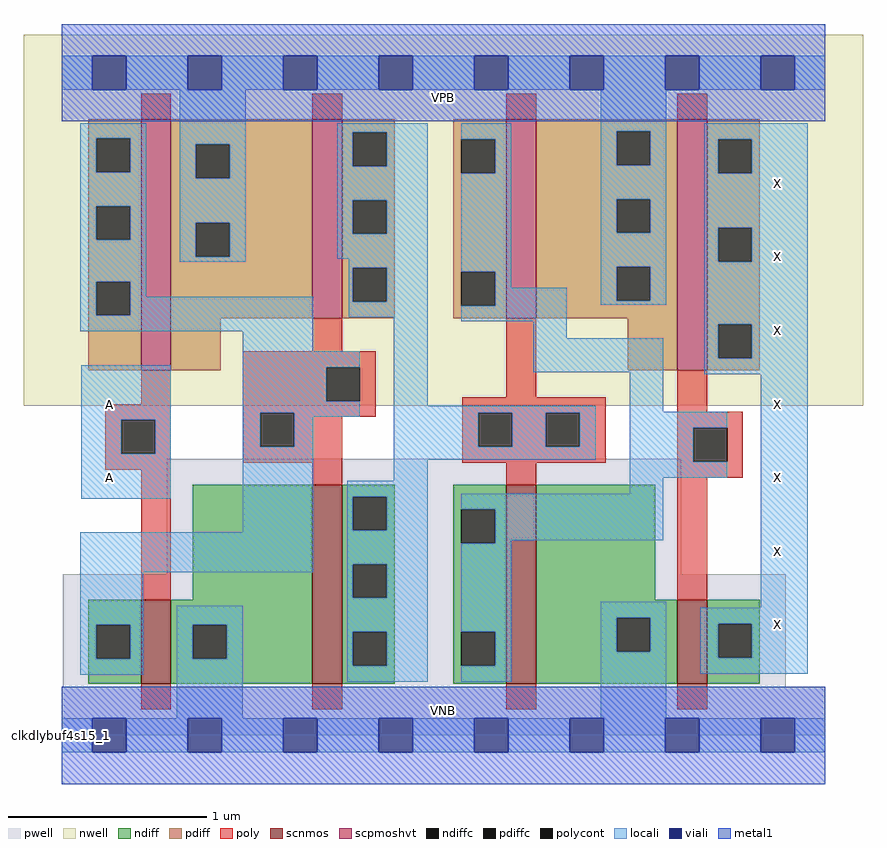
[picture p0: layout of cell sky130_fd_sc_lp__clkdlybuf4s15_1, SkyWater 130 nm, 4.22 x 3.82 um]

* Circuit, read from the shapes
.subckt sky130_fd_sc_lp__clkdlybuf4s15_1 A VGND VNB VPB VPWR X
XM1 VGND A n1 VNB sky130_fd_pr__nfet_01v8 w=0.42 l=0.15
XM2 n2 n1 VGND VNB sky130_fd_pr__nfet_01v8 w=1 l=0.15
XM3 VGND n2 n3 VNB sky130_fd_pr__nfet_01v8 w=1 l=0.15
XM4 X n3 VGND VNB sky130_fd_pr__nfet_01v8 w=0.42 l=0.15
XM5 VPWR A n1 VPB sky130_fd_pr__pfet_01v8_hvt w=1.26 l=0.15
XM6 n2 n1 VPWR VPB sky130_fd_pr__pfet_01v8_hvt w=1 l=0.15
XM7 VPWR n2 n3 VPB sky130_fd_pr__pfet_01v8_hvt w=1 l=0.15
XM8 X n3 VPWR VPB sky130_fd_pr__pfet_01v8_hvt w=1.26 l=0.15
.ends

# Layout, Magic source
magic
tech sky130A
magscale 1 2
<< nwell >>
rect -38 331 806 704
<< pwell >>
rect 106 162 623 278
rect 1 49 728 162
rect 0 0 768 49
<< scnmos >>
rect 80 52 110 136
rect 252 52 282 252
rect 447 52 477 252
rect 619 52 649 136
<< scpmoshvt >>
rect 80 367 110 619
rect 252 419 282 619
rect 447 419 477 619
rect 619 367 649 619
<< ndiff >>
rect 132 136 252 252
rect 27 111 80 136
rect 27 77 35 111
rect 69 77 80 111
rect 27 52 80 77
rect 110 111 252 136
rect 110 77 132 111
rect 166 77 252 111
rect 110 52 252 77
rect 282 240 335 252
rect 282 206 293 240
rect 327 206 335 240
rect 282 172 335 206
rect 282 138 293 172
rect 327 138 335 172
rect 282 104 335 138
rect 282 70 293 104
rect 327 70 335 104
rect 282 52 335 70
rect 394 227 447 252
rect 394 193 402 227
rect 436 193 447 227
rect 394 104 447 193
rect 394 70 402 104
rect 436 70 447 104
rect 394 52 447 70
rect 477 136 597 252
rect 477 118 619 136
rect 477 84 558 118
rect 592 84 619 118
rect 477 52 619 84
rect 649 112 702 136
rect 649 78 660 112
rect 694 78 702 112
rect 649 52 702 78
<< pdiff >>
rect 27 600 80 619
rect 27 566 35 600
rect 69 566 80 600
rect 27 532 80 566
rect 27 498 35 532
rect 69 498 80 532
rect 27 456 80 498
rect 27 422 35 456
rect 69 422 80 456
rect 27 367 80 422
rect 110 594 252 619
rect 110 560 135 594
rect 169 560 252 594
rect 110 515 252 560
rect 110 481 135 515
rect 169 481 252 515
rect 110 419 252 481
rect 282 606 335 619
rect 282 572 293 606
rect 327 572 335 606
rect 282 538 335 572
rect 282 504 293 538
rect 327 504 335 538
rect 282 470 335 504
rect 282 436 293 470
rect 327 436 335 470
rect 282 419 335 436
rect 394 599 447 619
rect 394 565 402 599
rect 436 565 447 599
rect 394 466 447 565
rect 394 432 402 466
rect 436 432 447 466
rect 394 419 447 432
rect 477 607 619 619
rect 477 573 558 607
rect 592 573 619 607
rect 477 539 619 573
rect 477 505 558 539
rect 592 505 619 539
rect 477 471 619 505
rect 477 437 558 471
rect 592 437 619 471
rect 477 419 619 437
rect 110 367 160 419
rect 569 367 619 419
rect 649 599 702 619
rect 649 565 660 599
rect 694 565 702 599
rect 649 510 702 565
rect 649 476 660 510
rect 694 476 702 510
rect 649 413 702 476
rect 649 379 660 413
rect 694 379 702 413
rect 649 367 702 379
<< ndiffc >>
rect 35 77 69 111
rect 132 77 166 111
rect 293 206 327 240
rect 293 138 327 172
rect 293 70 327 104
rect 402 193 436 227
rect 402 70 436 104
rect 558 84 592 118
rect 660 78 694 112
<< pdiffc >>
rect 35 566 69 600
rect 35 498 69 532
rect 35 422 69 456
rect 135 560 169 594
rect 135 481 169 515
rect 293 572 327 606
rect 293 504 327 538
rect 293 436 327 470
rect 402 565 436 599
rect 402 432 436 466
rect 558 573 592 607
rect 558 505 592 539
rect 558 437 592 471
rect 660 565 694 599
rect 660 476 694 510
rect 660 379 694 413
<< poly >>
rect 80 619 110 645
rect 252 619 282 645
rect 447 619 477 645
rect 619 619 649 645
rect 252 386 282 419
rect 182 370 316 386
rect 80 333 110 367
rect 44 317 110 333
rect 44 283 60 317
rect 94 283 110 317
rect 44 267 110 283
rect 182 336 266 370
rect 300 336 316 370
rect 447 340 477 419
rect 182 324 316 336
rect 182 290 200 324
rect 234 320 316 324
rect 403 324 547 340
rect 234 290 282 320
rect 182 274 282 290
rect 403 290 419 324
rect 453 290 487 324
rect 521 290 547 324
rect 403 274 547 290
rect 619 325 649 367
rect 619 309 685 325
rect 619 275 635 309
rect 669 275 685 309
rect 80 136 110 267
rect 252 252 282 274
rect 447 252 477 274
rect 619 259 685 275
rect 619 136 649 259
rect 80 26 110 52
rect 252 26 282 52
rect 447 26 477 52
rect 619 26 649 52
<< polycont >>
rect 60 283 94 317
rect 266 336 300 370
rect 200 290 234 324
rect 419 290 453 324
rect 487 290 521 324
rect 635 275 669 309
<< locali >>
rect 0 649 31 683
rect 65 649 127 683
rect 161 649 223 683
rect 257 649 319 683
rect 353 649 415 683
rect 449 649 511 683
rect 545 649 607 683
rect 641 649 703 683
rect 737 649 768 683
rect 19 600 85 615
rect 19 566 35 600
rect 69 566 85 600
rect 19 532 85 566
rect 19 498 35 532
rect 69 498 85 532
rect 19 456 85 498
rect 119 594 185 649
rect 119 560 135 594
rect 169 560 185 594
rect 119 515 185 560
rect 119 481 135 515
rect 169 481 185 515
rect 119 476 185 481
rect 277 606 368 615
rect 277 572 293 606
rect 327 572 368 606
rect 277 538 368 572
rect 277 504 293 538
rect 327 504 368 538
rect 277 479 368 504
rect 19 422 35 456
rect 69 441 85 456
rect 289 470 368 479
rect 69 422 253 441
rect 19 406 253 422
rect 289 436 293 470
rect 327 436 368 470
rect 289 420 368 436
rect 182 386 253 406
rect 20 317 110 372
rect 20 283 60 317
rect 94 283 110 317
rect 20 238 110 283
rect 182 370 300 386
rect 182 336 266 370
rect 182 324 300 336
rect 182 290 200 324
rect 234 320 300 324
rect 334 331 368 420
rect 402 599 452 615
rect 436 565 452 599
rect 402 466 452 565
rect 436 450 452 466
rect 542 607 608 649
rect 542 573 558 607
rect 592 573 608 607
rect 542 539 608 573
rect 542 505 558 539
rect 592 505 608 539
rect 542 471 608 505
rect 436 432 508 450
rect 542 437 558 471
rect 592 437 608 471
rect 542 433 608 437
rect 646 599 750 615
rect 646 565 660 599
rect 694 565 750 599
rect 646 510 750 565
rect 646 476 660 510
rect 694 476 750 510
rect 402 416 508 432
rect 474 399 508 416
rect 646 413 750 476
rect 474 365 605 399
rect 334 324 537 331
rect 234 290 253 320
rect 182 204 253 290
rect 334 290 419 324
rect 453 290 487 324
rect 521 290 537 324
rect 334 277 537 290
rect 571 325 605 365
rect 646 379 660 413
rect 694 379 750 413
rect 646 363 750 379
rect 571 309 669 325
rect 334 256 368 277
rect 19 164 253 204
rect 287 240 368 256
rect 571 275 635 309
rect 571 259 669 275
rect 571 243 605 259
rect 287 206 293 240
rect 327 206 368 240
rect 287 172 368 206
rect 19 111 82 164
rect 287 138 293 172
rect 327 138 368 172
rect 19 77 35 111
rect 69 77 82 111
rect 19 61 82 77
rect 116 111 182 130
rect 116 77 132 111
rect 166 77 182 111
rect 116 17 182 77
rect 287 104 368 138
rect 287 70 293 104
rect 327 70 368 104
rect 287 54 368 70
rect 402 227 605 243
rect 436 196 605 227
rect 436 193 452 196
rect 402 104 452 193
rect 436 70 452 104
rect 402 54 452 70
rect 542 118 608 134
rect 703 128 750 363
rect 542 84 558 118
rect 592 84 608 118
rect 542 17 608 84
rect 642 112 750 128
rect 642 78 660 112
rect 694 78 750 112
rect 642 62 750 78
rect 0 -17 31 17
rect 65 -17 127 17
rect 161 -17 223 17
rect 257 -17 319 17
rect 353 -17 415 17
rect 449 -17 511 17
rect 545 -17 607 17
rect 641 -17 703 17
rect 737 -17 768 17
<< viali >>
rect 31 649 65 683
rect 127 649 161 683
rect 223 649 257 683
rect 319 649 353 683
rect 415 649 449 683
rect 511 649 545 683
rect 607 649 641 683
rect 703 649 737 683
rect 31 -17 65 17
rect 127 -17 161 17
rect 223 -17 257 17
rect 319 -17 353 17
rect 415 -17 449 17
rect 511 -17 545 17
rect 607 -17 641 17
rect 703 -17 737 17
<< metal1 >>
rect 0 683 768 715
rect 0 649 31 683
rect 65 649 127 683
rect 161 649 223 683
rect 257 649 319 683
rect 353 649 415 683
rect 449 649 511 683
rect 545 649 607 683
rect 641 649 703 683
rect 737 649 768 683
rect 0 617 768 649
rect 0 17 768 49
rect 0 -17 31 17
rect 65 -17 127 17
rect 161 -17 223 17
rect 257 -17 319 17
rect 353 -17 415 17
rect 449 -17 511 17
rect 545 -17 607 17
rect 641 -17 703 17
rect 737 -17 768 17
rect 0 -49 768 -17
<< labels >>
flabel pwell s 0 0 768 49 0 FreeSans 200 0 0 0 VNB
port 3 nsew ground bidirectional
flabel nwell s 0 617 768 666 0 FreeSans 200 0 0 0 VPB
port 4 nsew power bidirectional
rlabel comment s 0 0 0 0 4 clkdlybuf4s15_1
flabel metal1 s 0 0 768 49 0 FreeSans 340 0 0 0 VGND
port 2 nsew ground bidirectional
flabel metal1 s 0 617 768 666 0 FreeSans 340 0 0 0 VPWR
port 5 nsew power bidirectional
flabel locali s 31 242 65 276 0 FreeSans 340 0 0 0 A
port 1 nsew signal input
flabel locali s 31 316 65 350 0 FreeSans 340 0 0 0 A
port 1 nsew signal input
flabel locali s 703 464 737 498 0 FreeSans 200 0 0 0 X
port 6 nsew signal output
flabel locali s 703 390 737 424 0 FreeSans 200 0 0 0 X
port 6 nsew signal output
flabel locali s 703 168 737 202 0 FreeSans 200 0 0 0 X
port 6 nsew signal output
flabel locali s 703 316 737 350 0 FreeSans 200 0 0 0 X
port 6 nsew signal output
flabel locali s 703 94 737 128 0 FreeSans 200 0 0 0 X
port 6 nsew signal output
flabel locali s 703 242 737 276 0 FreeSans 200 0 0 0 X
port 6 nsew signal output
flabel locali s 703 538 737 572 0 FreeSans 200 0 0 0 X
port 6 nsew signal output
<< properties >>
string LEFsite unit
string LEFclass CORE
string FIXED_BBOX 0 0 768 666
string GDS_FILE $PDKPATH/libs.ref/sky130_fd_sc_lp/gds/sky130_fd_sc_lp.gds
string LEFsymmetry X Y R90
string GDS_END 4817194
string GDS_START 4810102
<< end >>
